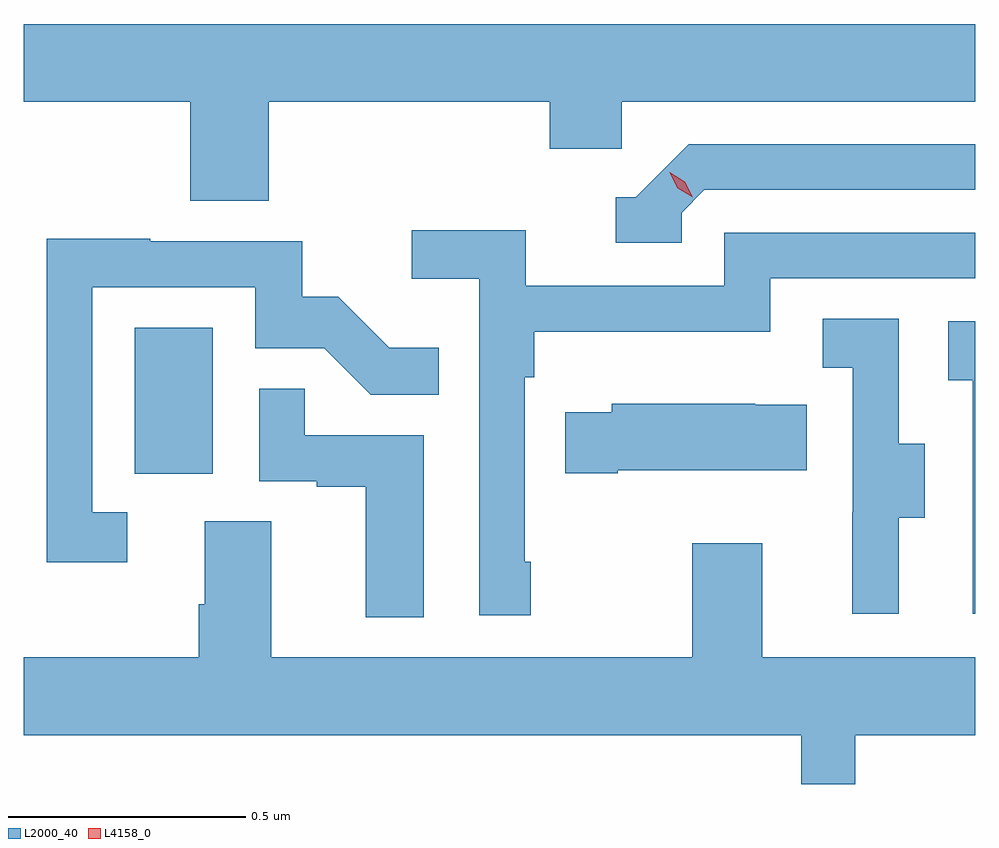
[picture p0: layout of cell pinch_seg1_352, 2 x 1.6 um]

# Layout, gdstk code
import gdstk
lib = gdstk.Library(unit=1e-6, precision=1e-09)
def R(c, l, rs):  # rectangles x0, y0, x1, y1
    for r in rs: c.add(gdstk.rectangle(r[:2], r[2:], *l))
def P(c, l, *ps):  # polygons
    for p in ps: c.add(gdstk.Polygon(p, *l))
L2000_40 = (2000, 40)
L4158_0 = (4158, 0)

pinch_seg1_352 = lib.new_cell('pinch_seg1_352')
R(pinch_seg1_352, L2000_40, [(949.646,553.614,949.81,553.921)])
P(pinch_seg1_352, L2000_40, [(949.928,554.396),(950.519,554.396),(950.519,554.298),(950.67,554.298),(950.67,554.396),(951.413,554.396),(951.413,554.56),(949.413,554.56),(949.413,554.396),(949.763,554.396),(949.763,554.188),(949.928,554.188)],
  [(950.796,554.163),(950.844,554.211),(951.413,554.211),(951.413,554.307),(950.811,554.307),(950.7,554.196),(950.657,554.196),(950.657,554.1),(950.796,554.1)],
  [(950.479,553.429),(950.466,553.429),(950.466,553.817),(950.486,553.817),(950.486,553.913),(950.982,553.913),(950.982,554.025),(951.413,554.025),(951.413,554.121),(950.886,554.121),(950.886,554.01),(950.468,554.01),(950.468,554.126),(950.229,554.126),(950.229,554.024),(950.37,554.024),(950.37,553.317),(950.479,553.317)],
  [(949.63,553.533),(949.557,553.533),(949.557,554.007),(949.899,554.007),(949.899,553.878),(950.044,553.878),(950.142,553.78),(950.285,553.78),(950.285,553.879),(950.181,553.879),(950.074,553.986),(949.998,553.986),(949.998,554.103),(949.679,554.103),(949.679,554.108),(949.461,554.108),(949.461,553.428),(949.63,553.428)],
  [(951.253,553.522),(951.307,553.522),(951.307,553.677),(951.252,553.677),(951.252,553.94),(951.093,553.94),(951.093,553.837),(951.156,553.837),(951.156,553.533),(951.155,553.533),(951.155,553.32),(951.253,553.32)],
  [(951.413,553.935),(951.357,553.935),(951.357,553.811),(951.408,553.811),(951.408,553.32),(951.413,553.32)],
  [(950.254,553.695),(950.003,553.695),(950.003,553.793),(949.908,553.793),(949.908,553.599),(950.029,553.599),(950.029,553.587),(950.132,553.587),(950.132,553.313),(950.254,553.313)],
  [(950.662,553.622),(951.059,553.622),(951.059,553.759),(950.951,553.759),(950.951,553.762),(950.649,553.762),(950.649,553.744),(950.551,553.744),(950.551,553.615),(950.662,553.615)],
  [(951.161,553.064),(951.413,553.064),(951.413,553.228),(950.965,553.228),(950.965,553.468),(950.818,553.468),(950.818,553.228),(949.933,553.228),(949.933,553.514),(949.793,553.514),(949.793,553.34),(949.781,553.34),(949.781,553.228),(949.413,553.228),(949.413,553.064),(951.047,553.064),(951.047,552.962),(951.161,552.962)])
P(pinch_seg1_352, L4158_0, [(950.819,554.196),(950.788,554.215),(950.771,554.247),(950.771,554.248),(950.771,554.248),(950.802,554.228),(950.819,554.196),(950.819,554.196)])

lib.write_gds('pinch_seg1_352.gds')
